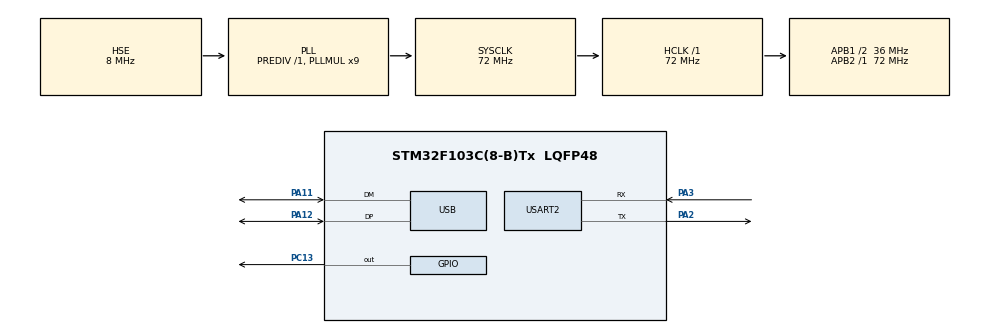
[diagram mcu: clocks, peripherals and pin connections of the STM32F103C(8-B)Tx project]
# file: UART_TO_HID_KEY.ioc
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Mcu.Family=STM32F1
Mcu.Name=STM32F103C(8-B)Tx
Mcu.Package=LQFP48
NVIC.PriorityGroup=NVIC_PRIORITYGROUP_4
NVIC.USART2_IRQn=true\:0\:0\:false\:false\:true\:true\:true\:true
NVIC.USB_LP_CAN1_RX0_IRQn=true\:0\:0\:false\:false\:true\:false\:true\:true
PA11.Mode=Device
PA11.Signal=USB_DM
PA12.Mode=Device
PA12.Signal=USB_DP
PA13.Mode=Serial_Wire
PA13.Signal=SYS_JTMS-SWDIO
PA14.Mode=Serial_Wire
PA14.Signal=SYS_JTCK-SWCLK
PA2.Mode=Asynchronous
PA2.Signal=USART2_TX
PA3.Mode=Asynchronous
PA3.Signal=USART2_RX
PC13-TAMPER-RTC.Signal=GPIO_Output
PD0-OSC_IN.Mode=HSE-External-Oscillator
PD0-OSC_IN.Signal=RCC_OSC_IN
PD1-OSC_OUT.Mode=HSE-External-Oscillator
PD1-OSC_OUT.Signal=RCC_OSC_OUT
ProjectManager.HeapSize=0x200
ProjectManager.StackSize=0x400
ProjectManager.TargetToolchain=STM32CubeIDE
RCC.AHBFreq_Value=72000000
RCC.APB1CLKDivider=RCC_HCLK_DIV2
RCC.APB1Freq_Value=36000000
RCC.APB1TimFreq_Value=72000000
RCC.APB2Freq_Value=72000000
RCC.APB2TimFreq_Value=72000000
RCC.HCLKFreq_Value=72000000
RCC.PLLMUL=RCC_PLL_MUL9
RCC.SYSCLKFreq_VALUE=72000000
RCC.SYSCLKSource=RCC_SYSCLKSOURCE_PLLCLK
RCC.USBFreq_Value=48000000
RCC.USBPrescaler=RCC_USBCLKSOURCE_PLL_DIV1_5
USART2.VirtualMode=VM_ASYNC
USB_DEVICE.CLASS_NAME_FS=HID
USB_DEVICE.PRODUCT_STRING_HID_FS=Route Master
USB_DEVICE.VirtualMode=Hid
USB_DEVICE.VirtualModeFS=Hid_FS
VP_USB_DEVICE_VS_USB_DEVICE_HID_FS.Mode=HID_FS
board=custom

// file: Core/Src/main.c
/* USER CODE BEGIN Header */
/**
  ******************************************************************************
  * @file           : main.c
  * @brief          : Main program body
  ******************************************************************************
  * @attention
  *
  * Copyright (c) 2025 STMicroelectronics.
  * All rights reserved.
  *
  * This software is licensed under terms that can be found in the LICENSE file
  * in the root directory of this software component.
  * If no LICENSE file comes with this software, it is provided AS-IS.
  *
  ******************************************************************************
  */
/* USER CODE END Header */
#include "main.h"
#include "usb_device.h"

/* USER CODE BEGIN Includes */
#include "stdio.h"
#include <stdbool.h>
#include "usbd_hid.h"
/* USER CODE END Includes */

/* USER CODE BEGIN PD */
#define ADC_REF_VOLTAGE 3.3f
#define ADC_MAX_VALUE 4095.0f
#define ZERO_G_VOLTAGE 1.65f     // Midpoint voltage at 0g
#define SENSITIVITY 0.3f         // ~0.3 V/g from datasheet
#define G_TO_MS2 9.80665f        // Convert g to m/s²
/* USER CODE END PD */

UART_HandleTypeDef huart2;

/* USER CODE BEGIN PV */
#define UART_RX_BUFFER_SIZE 64  // Adjust size as needed

uint8_t uart_rx_byte;  // Single byte received
char uart_rx_buffer[UART_RX_BUFFER_SIZE];  // Buffer to store data
uint16_t uart_rx_index = 0;  // Current buffer position
bool uart_line_ready = false;
/* USER CODE END PV */

void SystemClock_Config(void);
static void MX_GPIO_Init(void);
static void MX_USART2_UART_Init(void);

/* USER CODE BEGIN 0 */
extern USBD_HandleTypeDef hUsbDeviceFS;

void HAL_UART_RxCpltCallback(UART_HandleTypeDef *huart)
{

	    if (huart == &huart2) {
	        // Check if buffer is not full
	        if (uart_rx_index < UART_RX_BUFFER_SIZE - 1) {
	            // Store received byte
	            uart_rx_buffer[uart_rx_index++] = uart_rx_byte;

	            // Check for newline ('\n' or '\r\n')
	            if (uart_rx_byte == '\n' || uart_rx_byte == '\r') {
	                uart_rx_buffer[uart_rx_index - 1] = '\0';  // Replace newline with null terminator
	                uart_line_ready = true;  // Flag that a line is ready
	            }
	        }

	        // Restart UART interrupt for next byte
	        HAL_UART_Receive_IT(&huart2, &uart_rx_byte, 1);
	    }
	}
/* USER CODE END 0 */

int main(void)
{

  /* MCU Configuration--------------------------------------------------------*/

  /* Reset of all peripherals, Initializes the Flash interface and the Systick. */
  HAL_Init();

  /* Configure the system clock */
  SystemClock_Config();

  /* Initialize all configured peripherals */
  MX_GPIO_Init();
  MX_USB_DEVICE_Init();
  MX_USART2_UART_Init();

  /* Infinite loop */
  /* USER CODE BEGIN WHILE */
  // Start UART reception
  HAL_UART_Receive_IT(&huart2, &uart_rx_byte, 1);
  HAL_Delay(1000);

  while (1) {
         // If a full line is received, send it as keystroke
         if (uart_line_ready) {
             // Send the received line as keystrokes
             KeyBoardPrint(uart_rx_buffer, uart_rx_index - 1);  // -1 to exclude '\n'
             // Reset buffer and flag
             uart_rx_index = 0;
             uart_line_ready = false;
         }
         HAL_Delay(10);  // Small delay to reduce CPU load
     }
}

void SystemClock_Config(void)
{
  RCC_OscInitTypeDef RCC_OscInitStruct = {0};
  RCC_ClkInitTypeDef RCC_ClkInitStruct = {0};
  RCC_PeriphCLKInitTypeDef PeriphClkInit = {0};

  /** Initializes the RCC Oscillators according to the specified parameters
  * in the RCC_OscInitTypeDef structure.
  */
  RCC_OscInitStruct.OscillatorType = RCC_OSCILLATORTYPE_HSE;
  RCC_OscInitStruct.HSEState = RCC_HSE_ON;
  RCC_OscInitStruct.HSEPredivValue = RCC_HSE_PREDIV_DIV1;
  RCC_OscInitStruct.HSIState = RCC_HSI_ON;
  RCC_OscInitStruct.PLL.PLLState = RCC_PLL_ON;
  RCC_OscInitStruct.PLL.PLLSource = RCC_PLLSOURCE_HSE;
  RCC_OscInitStruct.PLL.PLLMUL = RCC_PLL_MUL9;
  if (HAL_RCC_OscConfig(&RCC_OscInitStruct) != HAL_OK)
  {
    Error_Handler();
  }

  /** Initializes the CPU, AHB and APB buses clocks
  */
  RCC_ClkInitStruct.ClockType = RCC_CLOCKTYPE_HCLK|RCC_CLOCKTYPE_SYSCLK
                              |RCC_CLOCKTYPE_PCLK1|RCC_CLOCKTYPE_PCLK2;
  RCC_ClkInitStruct.SYSCLKSource = RCC_SYSCLKSOURCE_PLLCLK;
  RCC_ClkInitStruct.AHBCLKDivider = RCC_SYSCLK_DIV1;
  RCC_ClkInitStruct.APB1CLKDivider = RCC_HCLK_DIV2;
  RCC_ClkInitStruct.APB2CLKDivider = RCC_HCLK_DIV1;

  if (HAL_RCC_ClockConfig(&RCC_ClkInitStruct, FLASH_LATENCY_2) != HAL_OK)
  {
    Error_Handler();
  }
  PeriphClkInit.PeriphClockSelection = RCC_PERIPHCLK_USB;
  PeriphClkInit.UsbClockSelection = RCC_USBCLKSOURCE_PLL_DIV1_5;
  if (HAL_RCCEx_PeriphCLKConfig(&PeriphClkInit) != HAL_OK)
  {
    Error_Handler();
  }
}

static void MX_USART2_UART_Init(void)
{

  huart2.Instance = USART2;
  huart2.Init.BaudRate = 115200;
  huart2.Init.WordLength = UART_WORDLENGTH_8B;
  huart2.Init.StopBits = UART_STOPBITS_1;
  huart2.Init.Parity = UART_PARITY_NONE;
  huart2.Init.Mode = UART_MODE_TX_RX;
  huart2.Init.HwFlowCtl = UART_HWCONTROL_NONE;
  huart2.Init.OverSampling = UART_OVERSAMPLING_16;
  if (HAL_UART_Init(&huart2) != HAL_OK)
  {
    Error_Handler();
  }

}

static void MX_GPIO_Init(void)
{
  GPIO_InitTypeDef GPIO_InitStruct = {0};

  /* GPIO Ports Clock Enable */
  __HAL_RCC_GPIOC_CLK_ENABLE();
  __HAL_RCC_GPIOD_CLK_ENABLE();
  __HAL_RCC_GPIOA_CLK_ENABLE();

  /*Configure GPIO pin Output Level */
  HAL_GPIO_WritePin(GPIOC, GPIO_PIN_13, GPIO_PIN_RESET);

  /*Configure GPIO pin : PC13 */
  GPIO_InitStruct.Pin = GPIO_PIN_13;
  GPIO_InitStruct.Mode = GPIO_MODE_OUTPUT_PP;
  GPIO_InitStruct.Pull = GPIO_NOPULL;
  GPIO_InitStruct.Speed = GPIO_SPEED_FREQ_LOW;
  HAL_GPIO_Init(GPIOC, &GPIO_InitStruct);

}

void Error_Handler(void)
{
  __disable_irq();
  while (1)
  {
  }
}
